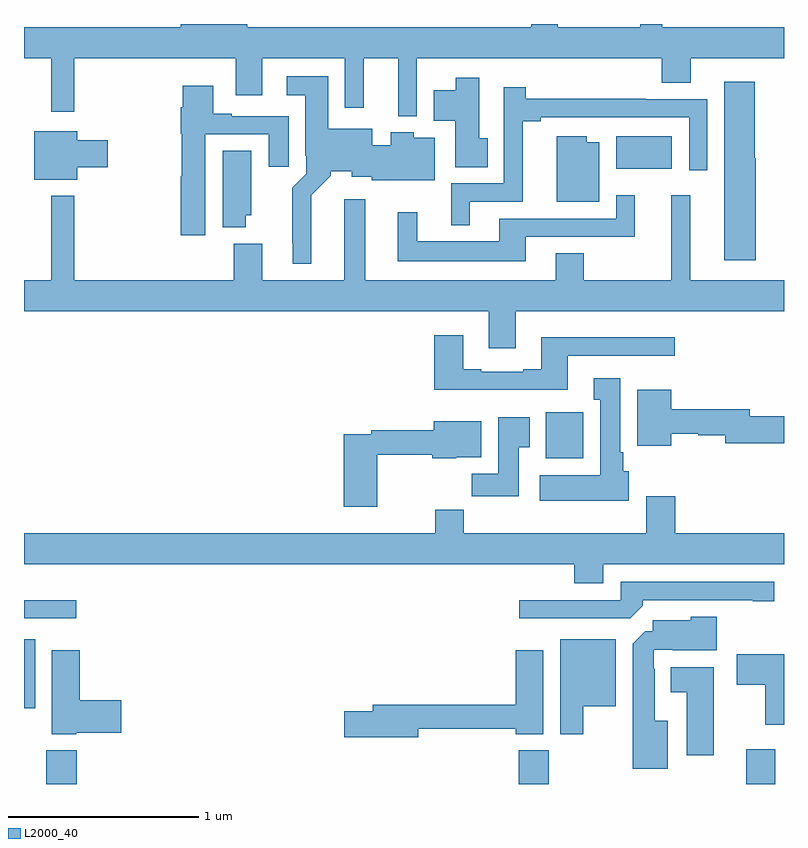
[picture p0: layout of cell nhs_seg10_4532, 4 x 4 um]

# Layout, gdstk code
import gdstk
lib = gdstk.Library(unit=1e-6, precision=1e-09)
def R(c, l, rs):  # rectangles x0, y0, x1, y1
    for r in rs: c.add(gdstk.rectangle(r[:2], r[2:], *l))
def P(c, l, *ps):  # polygons
    for p in ps: c.add(gdstk.Polygon(p, *l))
L2000_40 = (2000, 40)

nhs_seg10_4532 = lib.new_cell('nhs_seg10_4532')
R(nhs_seg10_4532, L2000_40, [(369.118,1292.5,369.278,1292.677), (371.603,1292.5,371.763,1292.677), (372.8,1292.5,372.953,1292.683), (369,1292.9,369.058,1293.262), (369,1293.372,369.274,1293.468), (371.747,1294.214,371.944,1294.456), (372.116,1295.738,372.409,1295.908)])
P(nhs_seg10_4532, L2000_40, [(371.067,1296.32),(372.356,1296.32),(372.356,1296.19),(372.508,1296.19),(372.508,1296.32),(373,1296.32),(373,1296.484),(372.359,1296.484),(372.359,1296.5),(372.243,1296.5),(372.243,1296.484),(371.809,1296.484),(371.809,1296.5),(371.669,1296.5),(371.669,1296.484),(370.174,1296.484),(370.174,1296.5),(369.824,1296.5),(369.824,1296.484),(369,1296.484),(369,1296.32),(369.143,1296.32),(369.143,1296.039),(369.265,1296.039),(369.265,1296.32),(370.115,1296.32),(370.115,1296.126),(370.255,1296.126),(370.255,1296.32),(370.689,1296.32),(370.689,1296.06),(370.787,1296.06),(370.787,1296.32),(370.97,1296.32),(370.97,1296.014),(371.067,1296.014)],
  [(370.513,1295.6),(370.614,1295.702),(370.614,1295.726),(370.724,1295.726),(370.724,1295.696),(370.83,1295.696),(370.83,1295.678),(371.161,1295.678),(371.161,1295.902),(371.052,1295.902),(371.052,1295.929),(370.931,1295.929),(370.931,1295.862),(370.834,1295.862),(370.834,1295.95),(370.6,1295.95),(370.6,1296.226),(370.383,1296.226),(370.383,1296.125),(370.481,1296.125),(370.481,1295.806),(370.485,1295.806),(370.485,1295.712),(370.411,1295.638),(370.411,1295.347),(370.415,1295.347),(370.415,1295.237),(370.513,1295.237)],
  [(371.441,1295.898),(371.395,1295.898),(371.395,1296.217),(371.273,1296.217),(371.273,1296.151),(371.156,1296.151),(371.156,1295.99),(371.27,1295.99),(371.27,1295.746),(371.441,1295.746)],
  [(372.85,1295.793),(372.845,1295.793),(372.845,1296.196),(372.686,1296.196),(372.686,1295.256),(372.85,1295.256)],
  [(369.955,1295.919),(370.289,1295.919),(370.289,1295.748),(370.393,1295.748),(370.393,1296.015),(370.093,1296.015),(370.093,1296.028),(369.997,1296.028),(369.997,1296.175),(369.836,1296.175),(369.836,1296.062),(369.824,1296.062),(369.824,1295.922),(369.829,1295.922),(369.829,1295.7),(369.824,1295.7),(369.824,1295.388),(369.955,1295.388)],
  [(371.347,1295.565),(371.624,1295.565),(371.624,1295.989),(371.719,1295.989),(371.719,1296.009),(372.501,1296.009),(372.501,1295.73),(372.597,1295.73),(372.597,1296.105),(372.272,1296.105),(372.272,1296.107),(371.642,1296.107),(371.642,1296.166),(371.526,1296.166),(371.526,1295.661),(371.249,1295.661),(371.249,1295.441),(371.347,1295.441)],
  [(369.28,1295.747),(369.442,1295.747),(369.442,1295.889),(369.28,1295.889),(369.28,1295.935),(369.053,1295.935),(369.053,1295.681),(369.28,1295.681)],
  [(372.028,1295.878),(371.962,1295.878),(371.962,1295.908),(371.804,1295.908),(371.804,1295.564),(372.028,1295.564)],
  [(370.168,1295.493),(370.195,1295.493),(370.195,1295.834),(370.046,1295.834),(370.046,1295.429),(370.168,1295.429)],
  [(371.587,1294.988),(373,1294.988),(373,1295.152),(372.506,1295.152),(372.506,1295.599),(372.407,1295.599),(372.407,1295.152),(371.946,1295.152),(371.946,1295.294),(371.798,1295.294),(371.798,1295.152),(370.795,1295.152),(370.795,1295.578),(370.685,1295.578),(370.685,1295.152),(370.255,1295.152),(370.255,1295.344),(370.103,1295.344),(370.103,1295.152),(369.265,1295.152),(369.265,1295.596),(369.143,1295.596),(369.143,1295.152),(369,1295.152),(369,1294.988),(371.447,1294.988),(371.447,1294.794),(371.587,1294.794)],
  [(371.641,1295.379),(372.215,1295.379),(372.215,1295.599),(372.117,1295.599),(372.117,1295.475),(371.501,1295.475),(371.501,1295.356),(371.071,1295.356),(371.071,1295.509),(370.967,1295.509),(370.967,1295.252),(371.641,1295.252)],
  [(371.863,1294.755),(372.424,1294.755),(372.424,1294.852),(371.723,1294.852),(371.723,1294.684),(371.627,1294.684),(371.627,1294.671),(371.407,1294.671),(371.407,1294.684),(371.311,1294.684),(371.311,1294.861),(371.159,1294.861),(371.159,1294.574),(371.863,1294.574)],
  [(372.184,1294.146),(372.154,1294.146),(372.154,1294.246),(372.139,1294.246),(372.139,1294.636),(371.999,1294.636),(371.999,1294.523),(372.032,1294.523),(372.032,1294.126),(371.715,1294.126),(371.715,1293.992),(372.184,1293.992)],
  [(372.406,1294.344),(372.549,1294.344),(372.549,1294.336),(372.692,1294.336),(372.692,1294.294),(373,1294.294),(373,1294.436),(372.82,1294.436),(372.82,1294.472),(372.406,1294.472),(372.406,1294.576),(372.227,1294.576),(372.227,1294.28),(372.406,1294.28)],
  [(371.605,1294.273),(371.662,1294.273),(371.662,1294.429),(371.495,1294.429),(371.495,1294.132),(371.356,1294.132),(371.356,1294.014),(371.605,1294.014)],
  [(370.86,1294.233),(371.149,1294.233),(371.149,1294.214),(371.274,1294.214),(371.274,1294.22),(371.407,1294.22),(371.407,1294.408),(371.156,1294.408),(371.156,1294.361),(370.828,1294.361),(370.828,1294.341),(370.682,1294.341),(370.682,1293.96),(370.86,1293.96)],
  [(372.049,1293.656),(373,1293.656),(373,1293.82),(372.428,1293.82),(372.428,1294.015),(372.275,1294.015),(372.275,1293.82),(371.315,1293.82),(371.315,1293.944),(371.164,1293.944),(371.164,1293.82),(369,1293.82),(369,1293.656),(371.897,1293.656),(371.897,1293.557),(372.049,1293.557)],
  [(372.257,1293.437),(372.257,1293.468),(372.836,1293.468),(372.836,1293.463),(372.949,1293.463),(372.949,1293.564),(372.141,1293.564),(372.141,1293.468),(371.607,1293.468),(371.607,1293.372),(372.191,1293.372)],
  [(372.388,1292.833),(372.319,1292.833),(372.319,1293.107),(372.315,1293.107),(372.315,1293.207),(372.415,1293.207),(372.415,1293.203),(372.646,1293.203),(372.646,1293.379),(372.51,1293.379),(372.51,1293.361),(372.308,1293.361),(372.308,1293.304),(372.269,1293.304),(372.203,1293.237),(372.203,1292.579),(372.388,1292.579)],
  [(371.944,1292.909),(372.115,1292.909),(372.115,1293.262),(371.822,1293.262),(371.822,1292.763),(371.944,1292.763)],
  [(371.074,1292.79),(371.588,1292.79),(371.588,1292.762),(371.734,1292.762),(371.734,1293.205),(371.588,1293.205),(371.588,1292.918),(370.835,1292.918),(370.835,1292.882),(370.686,1292.882),(370.686,1292.747),(371.074,1292.747)],
  [(369.276,1292.771),(369.511,1292.771),(369.511,1292.942),(369.293,1292.942),(369.293,1293.205),(369.146,1293.205),(369.146,1292.762),(369.276,1292.762)],
  [(373,1293.184),(372.75,1293.184),(372.75,1293.022),(372.902,1293.022),(372.902,1292.811),(373,1292.811)],
  [(372.631,1293.115),(372.404,1293.115),(372.404,1292.984),(372.488,1292.984),(372.488,1292.652),(372.631,1292.652)])

lib.write_gds('nhs_seg10_4532.gds')
